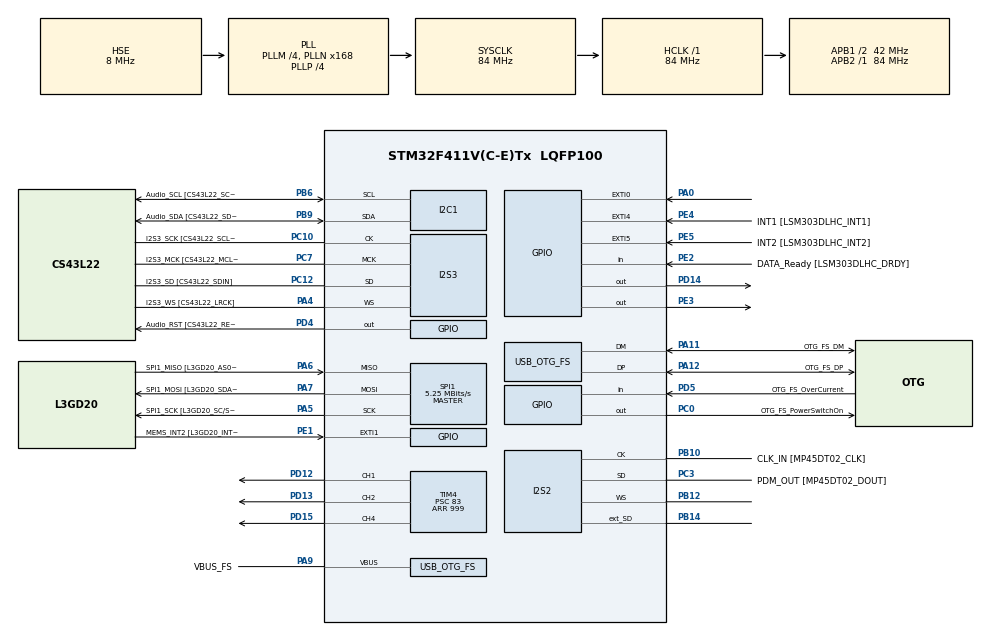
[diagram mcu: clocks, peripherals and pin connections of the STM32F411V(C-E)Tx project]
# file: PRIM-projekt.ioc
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I2C1.I2C_Mode=I2C_Standard
I2S2.AudioFreq=I2S_AUDIOFREQ_96K
I2S2.ErrorAudioFreq=0.15 %
I2S2.FullDuplexMode=I2S_FULLDUPLEXMODE_ENABLE
I2S2.Instance=SPI$Index
I2S2.RealAudioFreq=96.153 KHz
I2S2.VirtualMode=I2S_MODE_MASTER
I2S3.AudioFreq=I2S_AUDIOFREQ_48K
I2S3.ErrorAudioFreq=0.15 %
I2S3.FullDuplexMode=I2S_FULLDUPLEXMODE_DISABLE
I2S3.Instance=SPI$Index
I2S3.RealAudioFreq=48.076 KHz
I2S3.VirtualMode=I2S_MODE_MASTER
Mcu.Family=STM32F4
Mcu.Name=STM32F411V(C-E)Tx
Mcu.Package=LQFP100
NVIC.OTG_FS_IRQn=true\:0\:0\:false\:false\:true\:true\:true\:true
NVIC.PriorityGroup=NVIC_PRIORITYGROUP_0
PA0-WKUP.GPIO_ModeDefaultEXTI=GPIO_MODE_EVT_RISING
PA0-WKUP.Signal=GPXTI0
PA10.GPIO_Label=OTG_FS_ID
PA10.Signal=USB_OTG_FS_ID
PA11.GPIO_Label=OTG_FS_DM
PA11.Mode=Device_Only
PA11.Signal=USB_OTG_FS_DM
PA12.GPIO_Label=OTG_FS_DP
PA12.Mode=Device_Only
PA12.Signal=USB_OTG_FS_DP
PA13.GPIO_Label=SWDIO
PA13.Mode=Serial_Wire
PA13.Signal=SYS_JTMS-SWDIO
PA14.GPIO_Label=SWCLK
PA14.Mode=Serial_Wire
PA14.Signal=SYS_JTCK-SWCLK
PA4.GPIO_Label=I2S3_WS [CS43L22_LRCK]
PA4.GPIO_Mode=GPIO_MODE_AF_PP
PA4.GPIO_PuPd=GPIO_NOPULL
PA4.GPIO_Speed=GPIO_SPEED_FREQ_LOW
PA4.Mode=Half_Duplex_Master
PA4.Signal=I2S3_WS
PA5.GPIO_Label=SPI1_SCK [L3GD20_SC/SPC]
PA5.Mode=Full_Duplex_Master
PA5.Signal=SPI1_SCK
PA6.GPIO_Label=SPI1_MISO [L3GD20_AS0/SDO]
PA6.Mode=Full_Duplex_Master
PA6.Signal=SPI1_MISO
PA7.GPIO_Label=SPI1_MOSI [L3GD20_SDA/SDI/SDO]
PA7.Mode=Full_Duplex_Master
PA7.Signal=SPI1_MOSI
PA9.GPIO_Label=VBUS_FS
PA9.Mode=Activate_VBUS
PA9.Signal=USB_OTG_FS_VBUS
PB10.GPIO_Label=CLK_IN [MP45DT02_CLK]
PB10.Mode=Full_Duplex_Master
PB10.Signal=I2S2_CK
PB12.Mode=Full_Duplex_Master
PB12.Signal=I2S2_WS
PB14.Mode=Full_Duplex_Master
PB14.Signal=I2S2_ext_SD
PB3.GPIO_Label=SWO
PB3.Signal=SYS_JTDO-SWO
PB6.GPIO_Label=Audio_SCL [CS43L22_SCL]
PB6.GPIO_Mode=GPIO_MODE_AF_OD
PB6.GPIO_Pu=GPIO_PULLUP
PB6.GPIO_PuPd=GPIO_NOPULL
PB6.GPIO_Speed=GPIO_SPEED_FREQ_LOW
PB6.Mode=I2C
PB6.Signal=I2C1_SCL
PB9.GPIO_Label=Audio_SDA [CS43L22_SDA]
PB9.GPIO_Mode=GPIO_MODE_AF_OD
PB9.GPIO_Pu=GPIO_PULLUP
PB9.GPIO_PuPd=GPIO_NOPULL
PB9.GPIO_Speed=GPIO_SPEED_FREQ_LOW
PB9.Mode=I2C
PB9.Signal=I2C1_SDA
PC0.GPIO_Label=OTG_FS_PowerSwitchOn
PC0.PinState=GPIO_PIN_SET
PC0.Signal=GPIO_Output
PC10.GPIO_Label=I2S3_SCK [CS43L22_SCLK]
PC10.GPIO_Mode=GPIO_MODE_AF_PP
PC10.GPIO_PuPd=GPIO_NOPULL
PC10.GPIO_Speed=GPIO_SPEED_FREQ_LOW
PC10.Mode=Half_Duplex_Master
PC10.Signal=I2S3_CK
PC12.GPIO_Label=I2S3_SD [CS43L22_SDIN]
PC12.GPIO_Mode=GPIO_MODE_AF_PP
PC12.GPIO_PuPd=GPIO_NOPULL
PC12.GPIO_Speed=GPIO_SPEED_FREQ_LOW
PC12.Mode=Half_Duplex_Master
PC12.Signal=I2S3_SD
PC14-OSC32_IN.GPIO_Label=PC14-OSC32_IN
PC14-OSC32_IN.Mode=LSE-External-Oscillator
PC14-OSC32_IN.Signal=RCC_OSC32_IN
PC15-OSC32_OUT.GPIO_Label=PC15-OSC32_OUT
PC15-OSC32_OUT.Mode=LSE-External-Oscillator
PC15-OSC32_OUT.Signal=RCC_OSC32_OUT
PC3.GPIO_Label=PDM_OUT [MP45DT02_DOUT]
PC3.Mode=Full_Duplex_Master
PC3.Signal=I2S2_SD
PC7.GPIO_Label=I2S3_MCK [CS43L22_MCLK]
PC7.GPIO_Mode=GPIO_MODE_AF_PP
PC7.GPIO_PuPd=GPIO_NOPULL
PC7.GPIO_Speed=GPIO_SPEED_FREQ_LOW
PC7.Mode=Master_Clock_Activated
PC7.Signal=I2S3_MCK
PD12.Signal=S_TIM4_CH1
PD13.Signal=S_TIM4_CH2
PD14.Signal=GPIO_Output
PD15.Signal=S_TIM4_CH4
PD4.GPIO_Label=Audio_RST [CS43L22_RESET]
PD4.Signal=GPIO_Output
PD5.GPIO_Label=OTG_FS_OverCurrent
PD5.Signal=GPIO_Input
PE1.GPIO_Label=MEMS_INT2 [L3GD20_INT2]
PE1.GPIO_ModeDefaultEXTI=GPIO_MODE_EVT_RISING
PE1.Signal=GPXTI1
PE2.GPIO_Label=DATA_Ready [LSM303DLHC_DRDY]
PE2.Signal=GPIO_Input
PE3.GPIO_Speed=GPIO_SPEED_FREQ_HIGH
PE3.Signal=GPIO_Output
PE4.GPIO_Label=INT1 [LSM303DLHC_INT1]
PE4.GPIO_ModeDefaultEXTI=GPIO_MODE_EVT_RISING
PE4.Signal=GPXTI4
PE5.GPIO_Label=INT2 [LSM303DLHC_INT2]
PE5.GPIO_ModeDefaultEXTI=GPIO_MODE_EVT_RISING
PE5.Signal=GPXTI5
PH0\ -\ OSC_IN.GPIO_Label=PH0-OSC_IN
PH0\ -\ OSC_IN.Mode=HSE-External-Oscillator
PH0\ -\ OSC_IN.Signal=RCC_OSC_IN
PH1\ -\ OSC_OUT.GPIO_Label=PH1-OSC_OUT
PH1\ -\ OSC_OUT.Mode=HSE-External-Oscillator
PH1\ -\ OSC_OUT.Signal=RCC_OSC_OUT
ProjectManager.HeapSize=0x200
ProjectManager.StackSize=0x400
ProjectManager.TargetToolchain=STM32CubeIDE
RCC.48MHZClocksFreq_Value=48000000
RCC.AHBFreq_Value=84000000
RCC.APB1CLKDivider=RCC_HCLK_DIV2
RCC.APB1Freq_Value=42000000
RCC.APB1TimFreq_Value=84000000
RCC.APB2Freq_Value=84000000
RCC.APB2TimFreq_Value=84000000
RCC.CortexFreq_Value=84000000
RCC.HCLKFreq_Value=84000000
RCC.HSE_VALUE=8000000
RCC.HSI_VALUE=16000000
RCC.PLLI2SM=5
RCC.PLLI2SN=200
RCC.PLLM=4
RCC.PLLN=168
RCC.PLLP=RCC_PLLP_DIV4
RCC.PLLQ=7
RCC.SYSCLKFreq_VALUE=84000000
RCC.SYSCLKSource=RCC_SYSCLKSOURCE_PLLCLK
RCC.VCOOutputFreq_Value=336000000
SH.S_TIM4_CH1.0=TIM4_CH1,PWM Generation1 CH1
SH.S_TIM4_CH2.0=TIM4_CH2,PWM Generation2 CH2
SH.S_TIM4_CH4.0=TIM4_CH4,PWM Generation4 CH4
SPI1.BaudRatePrescaler=SPI_BAUDRATEPRESCALER_16
SPI1.CLKPhase=SPI_PHASE_2EDGE
SPI1.CLKPolarity=SPI_POLARITY_HIGH
SPI1.CalculateBaudRate=5.25 MBits/s
SPI1.Direction=SPI_DIRECTION_2LINES
SPI1.FirstBit=SPI_FIRSTBIT_MSB
SPI1.Mode=SPI_MODE_MASTER
SPI1.VirtualType=VM_MASTER
TIM4.Channel-PWM\ Generation1\ CH1=TIM_CHANNEL_1
TIM4.Channel-PWM\ Generation2\ CH2=TIM_CHANNEL_2
TIM4.Channel-PWM\ Generation4\ CH4=TIM_CHANNEL_4
TIM4.Period=999
TIM4.Prescaler=83
USB_DEVICE.CLASS_NAME_FS=CDC
USB_DEVICE.VirtualMode=Cdc
USB_DEVICE.VirtualModeFS=Cdc_FS
USB_OTG_FS.VirtualMode=Device_Only
VP_TIM4_VS_ClockSourceINT.Mode=Internal
VP_USB_DEVICE_VS_USB_DEVICE_CDC_FS.Mode=CDC_FS
board=STM32F411E-DISCO

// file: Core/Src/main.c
/* USER CODE BEGIN Header */
/**
  ******************************************************************************
  * @file           : main.c
  * @brief          : Main program body
  ******************************************************************************
  * @attention
  *
  * Copyright (c) 2025 STMicroelectronics.
  * All rights reserved.
  *
  * This software is licensed under terms that can be found in the LICENSE file
  * in the root directory of this software component.
  * If no LICENSE file comes with this software, it is provided AS-IS.
  *
  ******************************************************************************
  */
/* USER CODE END Header */
#include "main.h"
#include "usb_device.h"

/* USER CODE BEGIN Includes */
#include "usbd_cdc_if.h"
#include <string.h>
/* USER CODE END Includes */

/* USER CODE BEGIN PD */
#define ARR_VALUE 999
/* USER CODE END PD */

I2C_HandleTypeDef hi2c1;

I2S_HandleTypeDef hi2s2;
I2S_HandleTypeDef hi2s3;

SPI_HandleTypeDef hspi1;

TIM_HandleTypeDef htim4;

void SystemClock_Config(void);
void PeriphCommonClock_Config(void);
static void MX_GPIO_Init(void);
static void MX_I2C1_Init(void);
static void MX_I2S2_Init(void);
static void MX_I2S3_Init(void);
static void MX_SPI1_Init(void);
static void MX_TIM4_Init(void);
/* USER CODE BEGIN PFP */

uint8_t i2c1_pisiRegister(uint8_t, uint8_t, uint8_t);
void i2c1_beriRegistre(uint8_t, uint8_t, uint8_t*, uint8_t);
void initOrientation(void);

uint8_t spi1_beriRegister(uint8_t);
void spi1_beriRegistre(uint8_t, uint8_t*, uint8_t);
void spi1_pisiRegister(uint8_t, uint8_t);
void initGyro(void);
/* USER CODE END PFP */

/* USER CODE BEGIN 0 */
uint8_t i2c1_pisiRegister(uint8_t naprava, uint8_t reg, uint8_t podatek) {
    naprava <<= 1;
    return HAL_I2C_Mem_Write(&hi2c1, naprava, reg, I2C_MEMADD_SIZE_8BIT, &podatek, 1, 10);
}

void i2c1_beriRegistre(uint8_t naprava, uint8_t reg, uint8_t* podatek, uint8_t dolzina) {
    if ((dolzina>1)&&(naprava==0x19))  // ce je naprava 0x19 moramo postaviti ta bit, ce zelimo brati vec zlogov
        reg |= 0x80;
    naprava <<= 1;
    HAL_I2C_Mem_Read(&hi2c1, naprava, reg, I2C_MEMADD_SIZE_8BIT, podatek, dolzina, dolzina);
}

void initOrientation() { // ne pozabit klicati te funkcije
    // inicializiraj pospeskometer
    i2c1_pisiRegister(0x19, 0x20, 0x27);  // zbudi pospeskometer in omogoci osi
    i2c1_pisiRegister(0x19, 0x23, 0x88);  // nastavi posodobitev samo ko se prebere vrednost ter visoko locljivost
}

uint8_t spi1_beriRegister(uint8_t reg) {
    uint16_t buf_out, buf_in;
    reg |= 0x80; // najpomembnejsi bit na 1
    buf_out = reg; // little endian, se postavi na pravo mesto ....
    HAL_GPIO_WritePin(GPIOE, GPIO_PIN_3, GPIO_PIN_RESET);
    HAL_SPI_TransmitReceive(&hspi1, (uint8_t*)&buf_out, (uint8_t*)&buf_in, 2, 2); // blocking posiljanje ....
    HAL_GPIO_WritePin(GPIOE, GPIO_PIN_3, GPIO_PIN_SET);
    return buf_in >> 8; // little endian...
}

void spi1_pisiRegister(uint8_t reg, uint8_t vrednost) {
    uint16_t buf_out;
    buf_out = reg | (vrednost<<8); // little endian, se postavi na pravo mesto ....
    HAL_GPIO_WritePin(GPIOE, GPIO_PIN_3, GPIO_PIN_RESET);
    HAL_SPI_Transmit(&hspi1, (uint8_t*)&buf_out, 2, 2); // blocking posiljanje ....
    HAL_GPIO_WritePin(GPIOE, GPIO_PIN_3, GPIO_PIN_SET);
}

void spi1_beriRegistre(uint8_t reg, uint8_t* buffer, uint8_t velikost) {
    reg |= 0xC0; // najpomembnejsa bita na 1
    HAL_GPIO_WritePin(GPIOE, GPIO_PIN_3, GPIO_PIN_RESET);
    HAL_SPI_Transmit(&hspi1, &reg, 1, 10); // blocking posiljanje....
    HAL_SPI_Receive(&hspi1,  buffer, velikost, velikost); // blocking posiljanje....
    HAL_GPIO_WritePin(GPIOE, GPIO_PIN_3, GPIO_PIN_SET);
}

void initGyro() { // ne pozabit klicat te funkcije
    // preverimo ali smo "poklicali" pravi senzor
    uint8_t cip = spi1_beriRegister(0x0F);
    if (cip!=0xD4 && cip!=0xD3) {
        for (;;);
    }
    spi1_pisiRegister(0x20, 0x0F); // zbudi ziroskop in omogoci osi
}

void send_data() {
    uint8_t data[18]; // 6 bytes for accelerometer (3 axes * 2 bytes each) + 6 bytes for gyroscope (3 axes * 2 bytes each) + 2 bytes for a header
    uint8_t* accel_data = &data[2];  // Starting point for accelerometer data (after the header)
    uint8_t* gyro_data = &data[8];   // Starting point for gyroscope data (after the accelerometer data)

    // Fill the header or start marker
    data[0] = 0xaa;
    data[1] = 0xab;  // Header

    // Get Accelerometer Data (X, Y, Z)
    i2c1_beriRegistre(0x19, 0x28, (uint8_t*)&accel_data[0], 6); // Read 6 bytes (X, Y, Z)

    // Get Gyroscope Data (X, Y, Z)
//    i2c1_beriRegistre(0x6B, 0x28, (uint8_t*)&gyro_data[0], 6);  // Assume gyroscope data starts at 0x28 (for example)
    spi1_beriRegistre(0x28, (uint8_t*)&gyro_data[0], 6);
    // Send Data over USB
    CDC_Transmit_FS(data, 18);  // Send 18 bytes: 2 for header + 6 for accelerometer + 6 for gyroscope

    HAL_Delay(100);
}

void update_pwm_brightness(TIM_HandleTypeDef *htim, uint32_t channel, uint8_t brightness_level) {
    uint32_t ccr_value = (brightness_level * (ARR_VALUE + 1)) / 100;

    __HAL_TIM_SET_COMPARE(htim, channel, ccr_value);
}

void checkDir(uint8_t value, int8_t *dir, int8_t max, int8_t min){
	if(value >= max)
		dir = -1;
	else if(value <= min)
		dir = 1;
}
/* USER CODE END 0 */

int main(void)
{

  /* MCU Configuration--------------------------------------------------------*/

  /* Reset of all peripherals, Initializes the Flash interface and the Systick. */
  HAL_Init();

  /* Configure the system clock */
  SystemClock_Config();

  /* Configure the peripherals common clocks */
  PeriphCommonClock_Config();

  /* Initialize all configured peripherals */
  MX_GPIO_Init();
  MX_I2C1_Init();
  MX_I2S2_Init();
  MX_I2S3_Init();
  MX_SPI1_Init();
  MX_USB_DEVICE_Init();
  MX_TIM4_Init();
  /* USER CODE BEGIN 2 */
  __HAL_SPI_ENABLE(&hspi1);
  HAL_GPIO_WritePin(GPIOE, GPIO_PIN_3, GPIO_PIN_SET); // CS postavimo na 1
  initGyro();

  initOrientation();
  __HAL_I2C_ENABLE(&hi2c1);

  HAL_TIM_Base_Start(&htim4);

  // zazenemo PWM - neinvertirani izhodi
  HAL_TIM_PWM_Start(&htim4, TIM_CHANNEL_1);
  HAL_TIM_PWM_Start(&htim4, TIM_CHANNEL_2);
//  HAL_TIM_PWM_Start(&htim4, TIM_CHANNEL_3);
  HAL_TIM_PWM_Start(&htim4, TIM_CHANNEL_4);

  // primer nastavljanja aktivne periode PWM iz programske kode
//  TIM4->CCR4 = 10; // za kanal 4

  /* USER CODE END 2 */

  /* Infinite loop */
  /* USER CODE BEGIN WHILE */
//  SensorData recivedData = {0};
  int8_t dir_Status = 1;
  int8_t dir_RoadType = 1;
  uint8_t status = 0;
  uint8_t roadType = 0;
  while (1)
  {
//	  HAL_GPIO_TogglePin(GPIOD, GPIO_PIN_15);
	  if(isDefined){
		  if(recivedData.danger)
			  HAL_GPIO_WritePin(GPIOD, GPIO_PIN_14, SET);
		  else
			  HAL_GPIO_WritePin(GPIOD, GPIO_PIN_14, RESET);

		  update_pwm_brightness(&htim4, TIM_CHANNEL_2, status);

		  if(recivedData.roadType[0] == 'A'){
			  update_pwm_brightness(&htim4, TIM_CHANNEL_1, 0);
			  update_pwm_brightness(&htim4, TIM_CHANNEL_4, roadType);
		  }
		  else{
			  update_pwm_brightness(&htim4, TIM_CHANNEL_4, 0);
			  update_pwm_brightness(&htim4, TIM_CHANNEL_1, roadType);
		  }

		  status += recivedData.danger ? 10 * (recivedData.dangerProximity / 20) * dir_Status :  10 * dir_Status;
		  roadType += 10 * ((100 - recivedData.roadQuality) / 20) * dir_RoadType;

		  checkDir(status, &dir_Status, 100, 0);
		  checkDir(roadType, &dir_RoadType, 100, 0);
	  }
	  else{
		  HAL_GPIO_TogglePin(GPIOD, GPIO_PIN_14);
	  }

	  send_data();
    /* USER CODE END WHILE */

  }
}

void SystemClock_Config(void)
{
  RCC_OscInitTypeDef RCC_OscInitStruct = {0};
  RCC_ClkInitTypeDef RCC_ClkInitStruct = {0};

  /** Configure the main internal regulator output voltage
  */
  __HAL_RCC_PWR_CLK_ENABLE();
  __HAL_PWR_VOLTAGESCALING_CONFIG(PWR_REGULATOR_VOLTAGE_SCALE1);

  /** Initializes the RCC Oscillators according to the specified parameters
  * in the RCC_OscInitTypeDef structure.
  */
  RCC_OscInitStruct.OscillatorType = RCC_OSCILLATORTYPE_HSE;
  RCC_OscInitStruct.HSEState = RCC_HSE_ON;
  RCC_OscInitStruct.PLL.PLLState = RCC_PLL_ON;
  RCC_OscInitStruct.PLL.PLLSource = RCC_PLLSOURCE_HSE;
  RCC_OscInitStruct.PLL.PLLM = 4;
  RCC_OscInitStruct.PLL.PLLN = 168;
  RCC_OscInitStruct.PLL.PLLP = RCC_PLLP_DIV4;
  RCC_OscInitStruct.PLL.PLLQ = 7;
  if (HAL_RCC_OscConfig(&RCC_OscInitStruct) != HAL_OK)
  {
    Error_Handler();
  }

  /** Initializes the CPU, AHB and APB buses clocks
  */
  RCC_ClkInitStruct.ClockType = RCC_CLOCKTYPE_HCLK|RCC_CLOCKTYPE_SYSCLK
                              |RCC_CLOCKTYPE_PCLK1|RCC_CLOCKTYPE_PCLK2;
  RCC_ClkInitStruct.SYSCLKSource = RCC_SYSCLKSOURCE_PLLCLK;
  RCC_ClkInitStruct.AHBCLKDivider = RCC_SYSCLK_DIV1;
  RCC_ClkInitStruct.APB1CLKDivider = RCC_HCLK_DIV2;
  RCC_ClkInitStruct.APB2CLKDivider = RCC_HCLK_DIV1;

  if (HAL_RCC_ClockConfig(&RCC_ClkInitStruct, FLASH_LATENCY_2) != HAL_OK)
  {
    Error_Handler();
  }
}

void PeriphCommonClock_Config(void)
{
  RCC_PeriphCLKInitTypeDef PeriphClkInitStruct = {0};

  /** Initializes the peripherals clock
  */
  PeriphClkInitStruct.PeriphClockSelection = RCC_PERIPHCLK_I2S;
  PeriphClkInitStruct.PLLI2S.PLLI2SN = 200;
  PeriphClkInitStruct.PLLI2S.PLLI2SM = 5;
  PeriphClkInitStruct.PLLI2S.PLLI2SR = 2;
  if (HAL_RCCEx_PeriphCLKConfig(&PeriphClkInitStruct) != HAL_OK)
  {
    Error_Handler();
  }
}

static void MX_I2C1_Init(void)
{

  hi2c1.Instance = I2C1;
  hi2c1.Init.ClockSpeed = 100000;
  hi2c1.Init.DutyCycle = I2C_DUTYCYCLE_2;
  hi2c1.Init.OwnAddress1 = 0;
  hi2c1.Init.AddressingMode = I2C_ADDRESSINGMODE_7BIT;
  hi2c1.Init.DualAddressMode = I2C_DUALADDRESS_DISABLE;
  hi2c1.Init.OwnAddress2 = 0;
  hi2c1.Init.GeneralCallMode = I2C_GENERALCALL_DISABLE;
  hi2c1.Init.NoStretchMode = I2C_NOSTRETCH_DISABLE;
  if (HAL_I2C_Init(&hi2c1) != HAL_OK)
  {
    Error_Handler();
  }

}

static void MX_I2S2_Init(void)
{

  hi2s2.Instance = SPI2;
  hi2s2.Init.Mode = I2S_MODE_MASTER_TX;
  hi2s2.Init.Standard = I2S_STANDARD_PHILIPS;
  hi2s2.Init.DataFormat = I2S_DATAFORMAT_16B;
  hi2s2.Init.MCLKOutput = I2S_MCLKOUTPUT_DISABLE;
  hi2s2.Init.AudioFreq = I2S_AUDIOFREQ_96K;
  hi2s2.Init.CPOL = I2S_CPOL_LOW;
  hi2s2.Init.ClockSource = I2S_CLOCK_PLL;
  hi2s2.Init.FullDuplexMode = I2S_FULLDUPLEXMODE_ENABLE;
  if (HAL_I2S_Init(&hi2s2) != HAL_OK)
  {
    Error_Handler();
  }

}

static void MX_I2S3_Init(void)
{

  hi2s3.Instance = SPI3;
  hi2s3.Init.Mode = I2S_MODE_MASTER_TX;
  hi2s3.Init.Standard = I2S_STANDARD_PHILIPS;
  hi2s3.Init.DataFormat = I2S_DATAFORMAT_16B;
  hi2s3.Init.MCLKOutput = I2S_MCLKOUTPUT_ENABLE;
  hi2s3.Init.AudioFreq = I2S_AUDIOFREQ_48K;
  hi2s3.Init.CPOL = I2S_CPOL_LOW;
  hi2s3.Init.ClockSource = I2S_CLOCK_PLL;
  hi2s3.Init.FullDuplexMode = I2S_FULLDUPLEXMODE_DISABLE;
  if (HAL_I2S_Init(&hi2s3) != HAL_OK)
  {
    Error_Handler();
  }

}

static void MX_SPI1_Init(void)
{

  /* SPI1 parameter configuration*/
  hspi1.Instance = SPI1;
  hspi1.Init.Mode = SPI_MODE_MASTER;
  hspi1.Init.Direction = SPI_DIRECTION_2LINES;
  hspi1.Init.DataSize = SPI_DATASIZE_8BIT;
  hspi1.Init.CLKPolarity = SPI_POLARITY_HIGH;
  hspi1.Init.CLKPhase = SPI_PHASE_2EDGE;
  hspi1.Init.NSS = SPI_NSS_SOFT;
  hspi1.Init.BaudRatePrescaler = SPI_BAUDRATEPRESCALER_16;
  hspi1.Init.FirstBit = SPI_FIRSTBIT_MSB;
  hspi1.Init.TIMode = SPI_TIMODE_DISABLE;
  hspi1.Init.CRCCalculation = SPI_CRCCALCULATION_DISABLE;
  hspi1.Init.CRCPolynomial = 10;
  if (HAL_SPI_Init(&hspi1) != HAL_OK)
  {
    Error_Handler();
  }

}

static void MX_TIM4_Init(void)
{

  TIM_ClockConfigTypeDef sClockSourceConfig = {0};
  TIM_MasterConfigTypeDef sMasterConfig = {0};
  TIM_OC_InitTypeDef sConfigOC = {0};

  htim4.Instance = TIM4;
  htim4.Init.Prescaler = 83;
  htim4.Init.CounterMode = TIM_COUNTERMODE_UP;
  htim4.Init.Period = 999;
  htim4.Init.ClockDivision = TIM_CLOCKDIVISION_DIV1;
  htim4.Init.AutoReloadPreload = TIM_AUTORELOAD_PRELOAD_DISABLE;
  if (HAL_TIM_Base_Init(&htim4) != HAL_OK)
  {
    Error_Handler();
  }
  sClockSourceConfig.ClockSource = TIM_CLOCKSOURCE_INTERNAL;
  if (HAL_TIM_ConfigClockSource(&htim4, &sClockSourceConfig) != HAL_OK)
  {
    Error_Handler();
  }
  if (HAL_TIM_PWM_Init(&htim4) != HAL_OK)
  {
    Error_Handler();
  }
  sMasterConfig.MasterOutputTrigger = TIM_TRGO_RESET;
  sMasterConfig.MasterSlaveMode = TIM_MASTERSLAVEMODE_DISABLE;
  if (HAL_TIMEx_MasterConfigSynchronization(&htim4, &sMasterConfig) != HAL_OK)
  {
    Error_Handler();
  }
  sConfigOC.OCMode = TIM_OCMODE_PWM1;
  sConfigOC.Pulse = 0;
  sConfigOC.OCPolarity = TIM_OCPOLARITY_HIGH;
  sConfigOC.OCFastMode = TIM_OCFAST_DISABLE;
  if (HAL_TIM_PWM_ConfigChannel(&htim4, &sConfigOC, TIM_CHANNEL_1) != HAL_OK)
  {
    Error_Handler();
  }
  if (HAL_TIM_PWM_ConfigChannel(&htim4, &sConfigOC, TIM_CHANNEL_2) != HAL_OK)
  {
    Error_Handler();
  }
  if (HAL_TIM_PWM_ConfigChannel(&htim4, &sConfigOC, TIM_CHANNEL_4) != HAL_OK)
  {
    Error_Handler();
  }
  HAL_TIM_MspPostInit(&htim4);

}

static void MX_GPIO_Init(void)
{
  GPIO_InitTypeDef GPIO_InitStruct = {0};

  /* GPIO Ports Clock Enable */
  __HAL_RCC_GPIOE_CLK_ENABLE();
  __HAL_RCC_GPIOC_CLK_ENABLE();
  __HAL_RCC_GPIOH_CLK_ENABLE();
  __HAL_RCC_GPIOA_CLK_ENABLE();
  __HAL_RCC_GPIOB_CLK_ENABLE();
  __HAL_RCC_GPIOD_CLK_ENABLE();

  /*Configure GPIO pin Output Level */
  HAL_GPIO_WritePin(GPIOE, GPIO_PIN_3, GPIO_PIN_RESET);

  /*Configure GPIO pin Output Level */
  HAL_GPIO_WritePin(OTG_FS_PowerSwitchOn_GPIO_Port, OTG_FS_PowerSwitchOn_Pin, GPIO_PIN_SET);

  /*Configure GPIO pin Output Level */
  HAL_GPIO_WritePin(GPIOD, GPIO_PIN_14|Audio_RST_Pin, GPIO_PIN_RESET);

  /*Configure GPIO pin : DATA_Ready_Pin */
  GPIO_InitStruct.Pin = DATA_Ready_Pin;
  GPIO_InitStruct.Mode = GPIO_MODE_INPUT;
  GPIO_InitStruct.Pull = GPIO_NOPULL;
  HAL_GPIO_Init(DATA_Ready_GPIO_Port, &GPIO_InitStruct);

  /*Configure GPIO pin : PE3 */
  GPIO_InitStruct.Pin = GPIO_PIN_3;
  GPIO_InitStruct.Mode = GPIO_MODE_OUTPUT_PP;
  GPIO_InitStruct.Pull = GPIO_NOPULL;
  GPIO_InitStruct.Speed = GPIO_SPEED_FREQ_HIGH;
  HAL_GPIO_Init(GPIOE, &GPIO_InitStruct);

  /*Configure GPIO pins : INT1_Pin INT2_Pin MEMS_INT2_Pin */
  GPIO_InitStruct.Pin = INT1_Pin|INT2_Pin|MEMS_INT2_Pin;
  GPIO_InitStruct.Mode = GPIO_MODE_EVT_RISING;
  GPIO_InitStruct.Pull = GPIO_NOPULL;
  HAL_GPIO_Init(GPIOE, &GPIO_InitStruct);

  /*Configure GPIO pin : OTG_FS_PowerSwitchOn_Pin */
  GPIO_InitStruct.Pin = OTG_FS_PowerSwitchOn_Pin;
  GPIO_InitStruct.Mode = GPIO_MODE_OUTPUT_PP;
  GPIO_InitStruct.Pull = GPIO_NOPULL;
  GPIO_InitStruct.Speed = GPIO_SPEED_FREQ_LOW;
  HAL_GPIO_Init(OTG_FS_PowerSwitchOn_GPIO_Port, &GPIO_InitStruct);

  /*Configure GPIO pin : PA0 */
  GPIO_InitStruct.Pin = GPIO_PIN_0;
  GPIO_InitStruct.Mode = GPIO_MODE_EVT_RISING;
  GPIO_InitStruct.Pull = GPIO_NOPULL;
  HAL_GPIO_Init(GPIOA, &GPIO_InitStruct);

  /*Configure GPIO pins : PD14 Audio_RST_Pin */
  GPIO_InitStruct.Pin = GPIO_PIN_14|Audio_RST_Pin;
  GPIO_InitStruct.Mode = GPIO_MODE_OUTPUT_PP;
  GPIO_InitStruct.Pull = GPIO_NOPULL;
  GPIO_InitStruct.Speed = GPIO_SPEED_FREQ_LOW;
  HAL_GPIO_Init(GPIOD, &GPIO_InitStruct);

  /*Configure GPIO pin : OTG_FS_OverCurrent_Pin */
  GPIO_InitStruct.Pin = OTG_FS_OverCurrent_Pin;
  GPIO_InitStruct.Mode = GPIO_MODE_INPUT;
  GPIO_InitStruct.Pull = GPIO_NOPULL;
  HAL_GPIO_Init(OTG_FS_OverCurrent_GPIO_Port, &GPIO_InitStruct);

}

void Error_Handler(void)
{
  __disable_irq();
  while (1)
  {
  }
}
